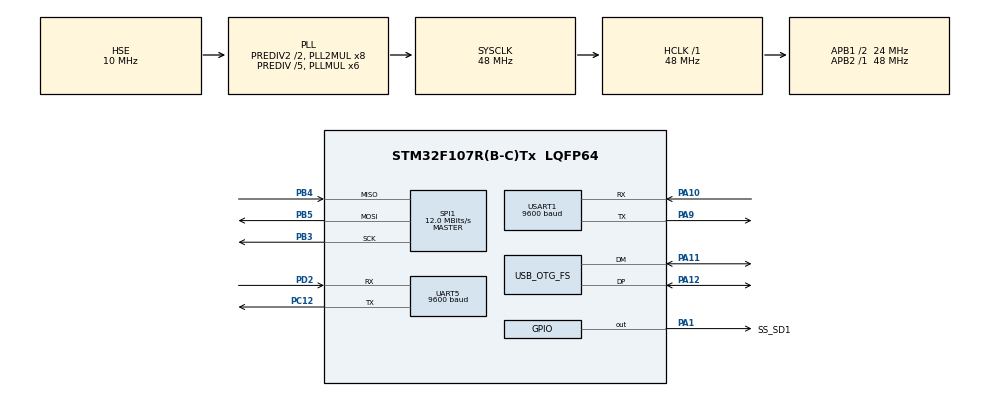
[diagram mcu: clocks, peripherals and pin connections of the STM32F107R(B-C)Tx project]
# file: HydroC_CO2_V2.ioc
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Dma.Request0=SPI1_RX
Dma.Request1=SPI1_TX
Dma.SPI1_RX.0.Direction=DMA_PERIPH_TO_MEMORY
Dma.SPI1_RX.0.Instance=DMA1_Channel2
Dma.SPI1_RX.0.MemDataAlignment=DMA_MDATAALIGN_BYTE
Dma.SPI1_RX.0.MemInc=DMA_MINC_ENABLE
Dma.SPI1_RX.0.Mode=DMA_NORMAL
Dma.SPI1_RX.0.PeriphDataAlignment=DMA_PDATAALIGN_BYTE
Dma.SPI1_RX.0.PeriphInc=DMA_PINC_DISABLE
Dma.SPI1_RX.0.Priority=DMA_PRIORITY_LOW
Dma.SPI1_TX.1.Direction=DMA_MEMORY_TO_PERIPH
Dma.SPI1_TX.1.Instance=DMA1_Channel3
Dma.SPI1_TX.1.MemDataAlignment=DMA_MDATAALIGN_BYTE
Dma.SPI1_TX.1.MemInc=DMA_MINC_ENABLE
Dma.SPI1_TX.1.Mode=DMA_NORMAL
Dma.SPI1_TX.1.PeriphDataAlignment=DMA_PDATAALIGN_BYTE
Dma.SPI1_TX.1.PeriphInc=DMA_PINC_DISABLE
Dma.SPI1_TX.1.Priority=DMA_PRIORITY_LOW
FREERTOS.BinarySemaphores01=glider_uart_sem,Dynamic,NULL;sensor_uart_sem,Dynamic,NULL
FREERTOS.Tasks01=defaultTask,0,1024,StartDefaultTask,Default,NULL,Dynamic,NULL,NULL;uart_tx_t,0,256,uart_tx_f,Default,NULL,Dynamic,NULL,NULL
FREERTOS.Timers01=timer1,timer1_cb,osTimerOnce,Default,NULL,Dynamic,NULL
FREERTOS.configTOTAL_HEAP_SIZE=30000
FREERTOS.configUSE_NEWLIB_REENTRANT=1
FREERTOS.configUSE_TIMERS=1
Mcu.Family=STM32F1
Mcu.Name=STM32F107R(B-C)Tx
Mcu.Package=LQFP64
NVIC.DMA1_Channel2_IRQn=true\:5\:0\:false\:false\:true\:true\:false\:true\:true
NVIC.DMA1_Channel3_IRQn=true\:5\:0\:false\:false\:true\:true\:false\:true\:true
NVIC.PriorityGroup=NVIC_PRIORITYGROUP_4
NVIC.SPI1_IRQn=true\:5\:0\:false\:false\:true\:true\:true\:true\:true
NVIC.TIM1_UP_IRQn=true\:15\:0\:false\:false\:true\:false\:false\:true\:true
NVIC.TimeBase=TIM1_UP_IRQn
NVIC.TimeBaseIP=TIM1
NVIC.UART5_IRQn=true\:5\:0\:false\:false\:true\:true\:true\:true\:true
NVIC.USART1_IRQn=true\:5\:0\:false\:false\:true\:true\:true\:true\:true
PA1.GPIO_Label=SS_SD1
PA1.GPIO_Speed=GPIO_SPEED_FREQ_HIGH
PA1.PinState=GPIO_PIN_SET
PA1.Signal=GPIO_Output
PA10.Mode=Asynchronous
PA10.Signal=USART1_RX
PA11.Mode=Host_Only
PA11.Signal=USB_OTG_FS_DM
PA12.Mode=Host_Only
PA12.Signal=USB_OTG_FS_DP
PA13.Mode=Serial_Wire
PA13.Signal=SYS_JTMS-SWDIO
PA14.Mode=Serial_Wire
PA14.Signal=SYS_JTCK-SWCLK
PA9.Mode=Asynchronous
PA9.Signal=USART1_TX
PB3.Mode=Full_Duplex_Master
PB3.Signal=SPI1_SCK
PB4.Mode=Full_Duplex_Master
PB4.Signal=SPI1_MISO
PB5.Mode=Full_Duplex_Master
PB5.Signal=SPI1_MOSI
PC12.Mode=Asynchronous
PC12.Signal=UART5_TX
PD0-OSC_IN.Mode=HSE-External-Oscillator
PD0-OSC_IN.Signal=RCC_OSC_IN
PD1-OSC_OUT.Mode=HSE-External-Oscillator
PD1-OSC_OUT.Signal=RCC_OSC_OUT
PD2.Mode=Asynchronous
PD2.Signal=UART5_RX
ProjectManager.HeapSize=0x200
ProjectManager.StackSize=0x400
ProjectManager.TargetToolchain=STM32CubeIDE
RCC.AHBFreq_Value=48000000
RCC.APB1CLKDivider=RCC_HCLK_DIV2
RCC.APB1Freq_Value=24000000
RCC.APB1TimFreq_Value=48000000
RCC.APB2Freq_Value=48000000
RCC.APB2TimFreq_Value=48000000
RCC.HCLKFreq_Value=48000000
RCC.HSEDivPLL=RCC_HSE_PREDIV_DIV5
RCC.HSE_VALUE=10000000
RCC.PLLMUL=RCC_PLL_MUL6
RCC.PLLSourceVirtual=RCC_PLLSOURCE_HSE
RCC.Prediv1Source=RCC_PREDIV1_SOURCE_PLL2
RCC.Prediv2=RCC_HSE_PREDIV2_DIV2
RCC.SYSCLKFreq_VALUE=48000000
RCC.SYSCLKSource=RCC_SYSCLKSOURCE_PLLCLK
RCC.USBFreq_Value=48000000
RCC.USBPrescaler=RCC_USBCLKSOURCE_PLL_DIV2
SPI1.BaudRatePrescaler=SPI_BAUDRATEPRESCALER_4
SPI1.CalculateBaudRate=12.0 MBits/s
SPI1.Direction=SPI_DIRECTION_2LINES
SPI1.Mode=SPI_MODE_MASTER
SPI1.VirtualType=VM_MASTER
UART5.BaudRate=9600
UART5.VirtualMode=Asynchronous
USART1.BaudRate=9600
USART1.VirtualMode=VM_ASYNC
USB_OTG_FS.VirtualMode=Host_Only
VP_FREERTOS_VS_CMSIS_V1.Mode=CMSIS_V1
VP_SYS_VS_tim1.Mode=TIM1
board=custom

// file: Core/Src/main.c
/* USER CODE BEGIN Header */
/**
  ******************************************************************************
  * @file           : main.c
  * @brief          : Main program body
  ******************************************************************************
  * @attention
  *
  * <h2><center>&copy; Copyright (c) 2022 STMicroelectronics.
  * All rights reserved.</center></h2>
  *
  * This software component is licensed by ST under Ultimate Liberty license
  * SLA0044, the "License"; You may not use this file except in compliance with
  * the License. You may obtain a copy of the License at:
  *                             www.st.com/SLA0044
  *
  ******************************************************************************
  */
/* USER CODE END Header */
#include "main.h"
#include "cmsis_os.h"

/* USER CODE BEGIN Includes */
#include "seaglider.h"
#include "HYDROC.h"
#include "string.h"
#include "em_sd_storage.h"
#include "stdio.h"
#include "settings.h"
/* USER CODE END Includes */

/* USER CODE BEGIN PD */

#define  SENSOR_UART             huart1
#define  GLIDER_UART             huart5

#define TX_BUFF_SIZE             150
#define DEBUG_MSG

/* USER CODE END PD */

SPI_HandleTypeDef hspi1;
DMA_HandleTypeDef hdma_spi1_rx;
DMA_HandleTypeDef hdma_spi1_tx;

UART_HandleTypeDef huart5;
UART_HandleTypeDef huart1;

HCD_HandleTypeDef hhcd_USB_OTG_FS;

osThreadId defaultTaskHandle;
osThreadId uart_tx_tHandle;
osTimerId timer1Handle;
osSemaphoreId glider_uart_semHandle;
osSemaphoreId sensor_uart_semHandle;
/* USER CODE BEGIN PV */

typedef enum{
	FSM_IDLE,
	FSM_INIT,
	FSM_MAIN_ALG
}fsm_t;

typedef enum{
	CLK_UNSYNC,
	CLK_SYNCED
}clk_sync_t;

seaglider glider1;
hydroc hydroc_sensor1;
sd_storage_t microsd_storage;
extern settings_str run_cfg;

uint32_t tick1,tick2;

fsm_t fsm_status;
clk_sync_t clock_sync_status;
/* USER CODE END PV */

void SystemClock_Config(void);
static void MX_GPIO_Init(void);
static void MX_DMA_Init(void);
static void MX_USB_OTG_FS_HCD_Init(void);
static void MX_UART5_Init(void);
static void MX_USART1_UART_Init(void);
static void MX_SPI1_Init(void);
void StartDefaultTask(void const * argument);
void uart_tx_f(void const * argument);
void timer1_cb(void const * argument);

int main(void)
{

  /* MCU Configuration--------------------------------------------------------*/

  /* Reset of all peripherals, Initializes the Flash interface and the Systick. */
  HAL_Init();

  /* Configure the system clock */
  SystemClock_Config();

  /* Initialize all configured peripherals */
  MX_GPIO_Init();
  MX_DMA_Init();
  MX_USB_OTG_FS_HCD_Init();
  MX_UART5_Init();
  MX_USART1_UART_Init();
  MX_SPI1_Init();
  /* USER CODE BEGIN 2 */
  fsm_status=FSM_IDLE;
  clock_sync_status=CLK_UNSYNC;
  seaglider_init(&glider1);
  hydroc_init(&hydroc_sensor1);

  HAL_UART_Receive_IT(&SENSOR_UART,&(hydroc_sensor1.media_rx_byte),1);
  HAL_UART_Receive_IT(&GLIDER_UART,&(glider1.media_rx_byte),1);

  /* USER CODE END 2 */

  /* Create the semaphores(s) */
  /* definition and creation of glider_uart_sem */
  osSemaphoreDef(glider_uart_sem);
  glider_uart_semHandle = osSemaphoreCreate(osSemaphore(glider_uart_sem), 1);

  /* definition and creation of sensor_uart_sem */
  osSemaphoreDef(sensor_uart_sem);
  sensor_uart_semHandle = osSemaphoreCreate(osSemaphore(sensor_uart_sem), 1);

  /* Create the timer(s) */
  /* definition and creation of timer1 */
  osTimerDef(timer1, timer1_cb);
  timer1Handle = osTimerCreate(osTimer(timer1), osTimerOnce, NULL);

  /* Create the thread(s) */
  /* definition and creation of defaultTask */
  osThreadDef(defaultTask, StartDefaultTask, osPriorityNormal, 0, 1024);
  defaultTaskHandle = osThreadCreate(osThread(defaultTask), NULL);

  /* definition and creation of uart_tx_t */
  osThreadDef(uart_tx_t, uart_tx_f, osPriorityNormal, 0, 256);
  uart_tx_tHandle = osThreadCreate(osThread(uart_tx_t), NULL);

  /* Start scheduler */
  osKernelStart();

  /* We should never get here as control is now taken by the scheduler */
  /* Infinite loop */
  while (1)
  {

  }
}

void SystemClock_Config(void)
{
  RCC_OscInitTypeDef RCC_OscInitStruct = {0};
  RCC_ClkInitTypeDef RCC_ClkInitStruct = {0};
  RCC_PeriphCLKInitTypeDef PeriphClkInit = {0};

  /** Initializes the RCC Oscillators according to the specified parameters
  * in the RCC_OscInitTypeDef structure.
  */
  RCC_OscInitStruct.OscillatorType = RCC_OSCILLATORTYPE_HSE;
  RCC_OscInitStruct.HSEState = RCC_HSE_ON;
  RCC_OscInitStruct.HSEPredivValue = RCC_HSE_PREDIV_DIV5;
  RCC_OscInitStruct.HSIState = RCC_HSI_ON;
  RCC_OscInitStruct.Prediv1Source = RCC_PREDIV1_SOURCE_PLL2;
  RCC_OscInitStruct.PLL.PLLState = RCC_PLL_ON;
  RCC_OscInitStruct.PLL.PLLSource = RCC_PLLSOURCE_HSE;
  RCC_OscInitStruct.PLL.PLLMUL = RCC_PLL_MUL6;
  RCC_OscInitStruct.PLL2.PLL2State = RCC_PLL2_ON;
  RCC_OscInitStruct.PLL2.PLL2MUL = RCC_PLL2_MUL8;
  RCC_OscInitStruct.PLL2.HSEPrediv2Value = RCC_HSE_PREDIV2_DIV2;
  if (HAL_RCC_OscConfig(&RCC_OscInitStruct) != HAL_OK)
  {
    Error_Handler();
  }

  /** Initializes the CPU, AHB and APB buses clocks
  */
  RCC_ClkInitStruct.ClockType = RCC_CLOCKTYPE_HCLK|RCC_CLOCKTYPE_SYSCLK
                              |RCC_CLOCKTYPE_PCLK1|RCC_CLOCKTYPE_PCLK2;
  RCC_ClkInitStruct.SYSCLKSource = RCC_SYSCLKSOURCE_PLLCLK;
  RCC_ClkInitStruct.AHBCLKDivider = RCC_SYSCLK_DIV1;
  RCC_ClkInitStruct.APB1CLKDivider = RCC_HCLK_DIV2;
  RCC_ClkInitStruct.APB2CLKDivider = RCC_HCLK_DIV1;

  if (HAL_RCC_ClockConfig(&RCC_ClkInitStruct, FLASH_LATENCY_1) != HAL_OK)
  {
    Error_Handler();
  }
  PeriphClkInit.PeriphClockSelection = RCC_PERIPHCLK_USB;
  PeriphClkInit.UsbClockSelection = RCC_USBCLKSOURCE_PLL_DIV2;
  if (HAL_RCCEx_PeriphCLKConfig(&PeriphClkInit) != HAL_OK)
  {
    Error_Handler();
  }

  /** Configure the Systick interrupt time
  */
  __HAL_RCC_PLLI2S_ENABLE();
}

static void MX_SPI1_Init(void)
{

  /* SPI1 parameter configuration*/
  hspi1.Instance = SPI1;
  hspi1.Init.Mode = SPI_MODE_MASTER;
  hspi1.Init.Direction = SPI_DIRECTION_2LINES;
  hspi1.Init.DataSize = SPI_DATASIZE_8BIT;
  hspi1.Init.CLKPolarity = SPI_POLARITY_LOW;
  hspi1.Init.CLKPhase = SPI_PHASE_1EDGE;
  hspi1.Init.NSS = SPI_NSS_SOFT;
  hspi1.Init.BaudRatePrescaler = SPI_BAUDRATEPRESCALER_4;
  hspi1.Init.FirstBit = SPI_FIRSTBIT_MSB;
  hspi1.Init.TIMode = SPI_TIMODE_DISABLE;
  hspi1.Init.CRCCalculation = SPI_CRCCALCULATION_DISABLE;
  hspi1.Init.CRCPolynomial = 10;
  if (HAL_SPI_Init(&hspi1) != HAL_OK)
  {
    Error_Handler();
  }

}

static void MX_UART5_Init(void)
{

  huart5.Instance = UART5;
  huart5.Init.BaudRate = 9600;
  huart5.Init.WordLength = UART_WORDLENGTH_8B;
  huart5.Init.StopBits = UART_STOPBITS_1;
  huart5.Init.Parity = UART_PARITY_NONE;
  huart5.Init.Mode = UART_MODE_TX_RX;
  huart5.Init.HwFlowCtl = UART_HWCONTROL_NONE;
  huart5.Init.OverSampling = UART_OVERSAMPLING_16;
  if (HAL_UART_Init(&huart5) != HAL_OK)
  {
    Error_Handler();
  }

}

static void MX_USART1_UART_Init(void)
{

  huart1.Instance = USART1;
  huart1.Init.BaudRate = 9600;
  huart1.Init.WordLength = UART_WORDLENGTH_8B;
  huart1.Init.StopBits = UART_STOPBITS_1;
  huart1.Init.Parity = UART_PARITY_NONE;
  huart1.Init.Mode = UART_MODE_TX_RX;
  huart1.Init.HwFlowCtl = UART_HWCONTROL_NONE;
  huart1.Init.OverSampling = UART_OVERSAMPLING_16;
  if (HAL_UART_Init(&huart1) != HAL_OK)
  {
    Error_Handler();
  }

}

static void MX_USB_OTG_FS_HCD_Init(void)
{

  hhcd_USB_OTG_FS.Instance = USB_OTG_FS;
  hhcd_USB_OTG_FS.Init.Host_channels = 8;
  hhcd_USB_OTG_FS.Init.speed = HCD_SPEED_FULL;
  hhcd_USB_OTG_FS.Init.phy_itface = HCD_PHY_EMBEDDED;
  hhcd_USB_OTG_FS.Init.Sof_enable = DISABLE;
  if (HAL_HCD_Init(&hhcd_USB_OTG_FS) != HAL_OK)
  {
    Error_Handler();
  }

}

static void MX_DMA_Init(void)
{

  /* DMA controller clock enable */
  __HAL_RCC_DMA1_CLK_ENABLE();

  /* DMA interrupt init */
  /* DMA1_Channel2_IRQn interrupt configuration */
  HAL_NVIC_SetPriority(DMA1_Channel2_IRQn, 5, 0);
  HAL_NVIC_EnableIRQ(DMA1_Channel2_IRQn);
  /* DMA1_Channel3_IRQn interrupt configuration */
  HAL_NVIC_SetPriority(DMA1_Channel3_IRQn, 5, 0);
  HAL_NVIC_EnableIRQ(DMA1_Channel3_IRQn);

}

static void MX_GPIO_Init(void)
{
  GPIO_InitTypeDef GPIO_InitStruct = {0};

  /* GPIO Ports Clock Enable */
  __HAL_RCC_GPIOD_CLK_ENABLE();
  __HAL_RCC_GPIOA_CLK_ENABLE();
  __HAL_RCC_GPIOC_CLK_ENABLE();
  __HAL_RCC_GPIOB_CLK_ENABLE();

  /*Configure GPIO pin Output Level */
  HAL_GPIO_WritePin(SS_SD1_GPIO_Port, SS_SD1_Pin, GPIO_PIN_SET);

  /*Configure GPIO pin : SS_SD1_Pin */
  GPIO_InitStruct.Pin = SS_SD1_Pin;
  GPIO_InitStruct.Mode = GPIO_MODE_OUTPUT_PP;
  GPIO_InitStruct.Pull = GPIO_NOPULL;
  GPIO_InitStruct.Speed = GPIO_SPEED_FREQ_HIGH;
  HAL_GPIO_Init(SS_SD1_GPIO_Port, &GPIO_InitStruct);

}

/* USER CODE BEGIN 4 */
uint8_t tmp1;
uint8_t tmp2;

void HAL_UART_RxCpltCallback(UART_HandleTypeDef *huart)
{
 if(huart==&SENSOR_UART)
 {
	 hydroc_media_process_byte(&hydroc_sensor1,hydroc_sensor1.media_rx_byte);
	 HAL_UART_Receive_IT(&SENSOR_UART,&(hydroc_sensor1.media_rx_byte),1);
 }
 else if(huart==&GLIDER_UART)
 {
	 seaglider_media_process_byte(&glider1,glider1.media_rx_byte);
	 HAL_UART_Receive_IT(&GLIDER_UART,&(glider1.media_rx_byte),1);
 }
}

void HAL_UART_TxCpltCallback(UART_HandleTypeDef *huart)
{

 if(huart==&SENSOR_UART)
 {
	 if(hydroc_media_get_byte(&hydroc_sensor1,&tmp2)==HYDROC_F_OK)
	 {
	    HAL_UART_Transmit_IT(&SENSOR_UART,&tmp2,1);
	 }
 }
 else if(huart==&GLIDER_UART)
 {
	 if(seaglider_media_get_byte(&glider1,&tmp1)==SEAGLIDER_F_OK)
	 {
	    HAL_UART_Transmit_IT(&GLIDER_UART,&tmp1,1);
	 }
 }
}

/* USER CODE END 4 */

void StartDefaultTask(void const * argument)
{
  /* USER CODE BEGIN 5 */
  /* Infinite loop */
  uint8_t event_id;
  char tmp_str[30];

  memory_region_pointer ptr1;
  uint8_t tx_buff[TX_BUFF_SIZE];
  uint32_t byteswritten;
  uint32_t bytesreaded;
  FIL  data_file;
  FIL  err_file;
  char tmp_filename[FILENAME_LEN+2];
  char log_msg[512];

  osDelay(200);
  #ifdef DEBUG_MSG
   HAL_UART_Transmit(&GLIDER_UART,"Glider port start\r",18,100);
   HAL_UART_Transmit(&SENSOR_UART,"Sensor port start\r",18,100);
  #endif
  sd_storage_link_ss(&microsd_storage,0,SS_SD1_Pin,GPIOA);
  while(sd_storage_init(&microsd_storage)!=F_OK){
		osDelay(1000);
        #ifdef DEBUG_MSG
			HAL_UART_Transmit(&SENSOR_UART,"SD init error\r",14,100);
        #endif
  }
  run_cfg.disk_id=microsd_storage.active_disk_indx;
  if(read_settings()==F_ERR){
	  set_default_settings();
  }
  #ifdef DEBUG_MSG
	HAL_UART_Transmit(&SENSOR_UART,"Init finished\r",14,100);
  #endif

  hydroc_sensor1.errors.P_in=run_cfg.sensor_errors.P_in;
  hydroc_sensor1.errors.rH_gas=run_cfg.sensor_errors.rH_gas;
  hydroc_sensor1.errors.T_control=run_cfg.sensor_errors.T_control;
  hydroc_sensor1.errors.P_pump=run_cfg.sensor_errors.P_pump;

  fsm_status=FSM_MAIN_ALG;

  seaglider_send_cmd(&glider1,SEAGLIDER_CMD_PROMPT,NULL);
  for(;;)
  {
		 //glider task
		 if(seaglider_get_event(&glider1,&event_id)==SEAGLIDER_F_OK)
		 {
			switch(event_id)
			{
			 case SEAGLIDER_EVNT_CLEAR_RCVD:
				  hydroc_send_cmd(&hydroc_sensor1,HYDROC_CMD_ENTER_CFG,NULL);
				  osDelay(1000);
				  hydroc_send_cmd(&hydroc_sensor1,HYDROC_CMD_CLEAR,NULL);
				  osDelay(1000);
				  hydroc_send_cmd(&hydroc_sensor1,HYDROC_CMD_EXIT_CFG,NULL);
				  seaglider_send_cmd(&glider1,SEAGLIDER_CMD_PROMPT,NULL);
			 break;
			 case SEAGLIDER_EVNT_POFF_RCVD:
				  hydroc_send_cmd(&hydroc_sensor1,HYDROC_CMD_ENTER_CFG,NULL);
				  osDelay(1000);
				  hydroc_send_cmd(&hydroc_sensor1,HYDROC_CMD_DISABLE_PUMP,NULL);
				  osDelay(1000);
				  hydroc_send_cmd(&hydroc_sensor1,HYDROC_CMD_EXIT_CFG,NULL);
				  seaglider_send_cmd(&glider1,SEAGLIDER_CMD_PROMPT,NULL);
			 break;
			 case SEAGLIDER_EVNT_DEPTH_RCVD:
				  seaglider_send_cmd(&glider1,SEAGLIDER_CMD_PROMPT,NULL);
	         break;
			 case SEAGLIDER_EVNT_STOP_RCVD:

				  if(glider1.dive_status==glider1.param_y){
					hydroc_send_cmd(&hydroc_sensor1,HYDROC_CMD_ENTER_CFG,NULL);
					osDelay(1000);
					hydroc_send_cmd(&hydroc_sensor1,HYDROC_CMD_SET_ZERO_MODE,NULL);
					osDelay(1000);
				    if(glider1.stop_trigger==SEAGLIDER_STOP_WAIT){
					  hydroc_send_cmd(&hydroc_sensor1,HYDROC_CMD_DISABLE_PUMP,NULL);
					  osDelay(1000);
				    }
					hydroc_send_cmd(&hydroc_sensor1,HYDROC_CMD_EXIT_CFG,NULL);
					osDelay(1000);
					glider1.stop_trigger=SEAGLIDER_STOP_TRIGGERED;
				  }

				  f_close(&data_file);
				  run_cfg.sensor_errors.P_in=hydroc_sensor1.errors.P_in;
				  run_cfg.sensor_errors.rH_gas=hydroc_sensor1.errors.rH_gas;
				  run_cfg.sensor_errors.T_control=hydroc_sensor1.errors.T_control;
				  run_cfg.sensor_errors.P_pump=hydroc_sensor1.errors.P_pump;
				  //f_close(&err_file);
				  save_settings();

				  //hydroc_send_cmd(&hydroc_sensor1,HYDROC_CMD_TEST,NULL);
				  hydroc_sensor1.status=HYDROC_IDLE;
				  seaglider_send_cmd(&glider1,SEAGLIDER_CMD_PROMPT,NULL);
			 break;
			 case SEAGLIDER_EVNT_START_RCVD:
				  hydroc_sensor1.data_profile_id=glider1.param_z;

				  if(glider1.dive_status==SEAGLIDER_STATUS_DIVE){
					  run_cfg.last_file_index++;
					  sprintf(tmp_filename,"%u:%s%u%s",run_cfg.disk_id,DATA_FILE_PREFIX,run_cfg.last_file_index,DATA_FILE_EXTENSION);
					  f_open(&data_file,tmp_filename,FA_CREATE_ALWAYS|FA_WRITE);
					  //sprintf(tmp_filename,"%u:%s%u%s",run_cfg.disk_id,ERR_FILE_PREFIX,run_cfg.last_file_index,ERR_FILE_EXTENSION);
					  //f_open(&err_file,tmp_filename,FA_CREATE_ALWAYS|FA_WRITE);

					  hydroc_sensor1.errors.P_in=0;
					  hydroc_sensor1.errors.rH_gas=0;
					  hydroc_sensor1.errors.T_control=0;
					  hydroc_sensor1.errors.P_pump=0;
				  }
				  else if(glider1.dive_status==SEAGLIDER_STATUS_CLIMB){

					  sprintf(tmp_filename,"%u:%s%u%s",run_cfg.disk_id,DATA_FILE_PREFIX,run_cfg.last_file_index,DATA_FILE_EXTENSION);
					  f_open(&data_file,tmp_filename,FA_OPEN_APPEND|FA_WRITE);
					  //sprintf(tmp_filename,"%u:%s%u%s",run_cfg.disk_id,ERR_FILE_PREFIX,run_cfg.last_file_index,ERR_FILE_EXTENSION);
					  //f_open(&err_file,tmp_filename,FA_OPEN_APPEND|FA_WRITE);
				  }

				  hydroc_sensor1.status=HYDROC_WAIT_DATA;

				  if(glider1.start_trigger==SEAGLIDER_START_WAIT){
					hydroc_send_cmd(&hydroc_sensor1,HYDROC_CMD_ENTER_CFG,NULL);
					osDelay(1000);
					hydroc_send_cmd(&hydroc_sensor1,HYDROC_CMD_ENABLE_PUMP,NULL);
					osDelay(1000);
					hydroc_send_cmd(&hydroc_sensor1,HYDROC_CMD_EXIT_CFG,NULL);
					glider1.start_trigger=SEAGLIDER_START_TRIGGERED;
				  }
				  //hydroc_send_cmd(&hydroc_sensor1,HYDROC_CMD_TEST,NULL);
				  seaglider_send_cmd(&glider1,SEAGLIDER_CMD_PROMPT,NULL);
			 break;
			 case SEAGLIDER_EVNT_CLOCK_RCVD:
				  seaglider_send_cmd(&glider1,SEAGLIDER_CMD_PROMPT,NULL);
                  if(clock_sync_status==CLK_UNSYNC){
					  xSemaphoreTake(sensor_uart_semHandle,portMAX_DELAY);
					  clock_sync_status=CLK_SYNCED;
					  hydroc_send_cmd(&hydroc_sensor1,HYDROC_CMD_ENTER_CFG,tmp_str);
					  osDelay(1000);
					  memcpy(tmp_str,glider1.date,8);
					  memcpy(tmp_str+8,",0,",3);
					  memcpy(tmp_str+11,glider1.time,8);
					  memcpy(tmp_str+19,",0",2);
					  tmp_str[21]=0x00;
					  hydroc_send_cmd(&hydroc_sensor1,HYDROC_CMD_SET_REAL_TIME,tmp_str);
					  osDelay(1000);
					  hydroc_send_cmd(&hydroc_sensor1,HYDROC_CMD_EXIT_CFG,tmp_str);
					  xSemaphoreGive(sensor_uart_semHandle);
                  }

			 break;
			 case SEAGLIDER_EVNT_WAKEUP_RCVD:
				  seaglider_send_cmd(&glider1,SEAGLIDER_CMD_PROMPT,NULL);
			 break;

			 case SEAGLIDER_EVNT_TEST_RCVD:
				  seaglider_send_cmd(&glider1,SEAGLIDER_CMD_PROMPT,NULL);
			 break;
			 case SEAGLIDER_EVNT_SEND_TXT_FILE_RCVD:
				  sprintf(tmp_filename,"%s%u%s",DATA_FILE_PREFIX,run_cfg.last_file_index,DATA_FILE_EXTENSION);
				  if(f_open(&data_file,tmp_filename,FA_READ)==FR_OK){
					ptr1.start_addr=tmp_filename;
					ptr1.size=strlen(tmp_filename);
					seaglider_send_cmd(&glider1,SEAGLIDER_CMD_SEND_DATA,&ptr1);
					do{
					   if(f_read(&data_file,tx_buff,50,&bytesreaded)==FR_OK){
					    ptr1.start_addr=tx_buff;
					    ptr1.size=bytesreaded;
					    seaglider_send_cmd(&glider1,SEAGLIDER_CMD_SEND_DATA,&ptr1);
					   }
					}while(bytesreaded==50);
				  }
				  /* send error file
				  sprintf(tmp_filename,"%s%u%s",ERR_FILE_PREFIX,run_cfg.last_file_index,ERR_FILE_EXTENSION);
				  if(f_open(&data_file,tmp_filename,FA_READ)==FR_OK){
					ptr1.start_addr=tmp_filename;
					ptr1.size=strlen(tmp_filename);
					seaglider_send_cmd(&glider1,SEAGLIDER_CMD_SEND_DATA,&ptr1);
					do{
					   if(f_read(&data_file,tx_buff,50,&bytesreaded)==FR_OK){
					    ptr1.start_addr=tx_buff;
					    ptr1.size=bytesreaded;
					    seaglider_send_cmd(&glider1,SEAGLIDER_CMD_SEND_DATA,&ptr1);
					   }
					}while(bytesreaded==TX_BUFF_SIZE);
				  }
				  */
				  seaglider_send_cmd(&glider1,SEAGLIDER_CMD_PROMPT,NULL);
			 break;
			 case SEAGLIDER_EVNT_ERRORS_RCVD:
				  sprintf(tx_buff,"P_in:%u,rH_gas:%u,T_control:%u,P_pump:%u\r",
						   hydroc_sensor1.errors.P_in,
						   hydroc_sensor1.errors.rH_gas,
						   hydroc_sensor1.errors.T_control,
						   hydroc_sensor1.errors.P_pump
						   );
  			      ptr1.start_addr=tx_buff;
				  ptr1.size=strlen(tx_buff);
				  seaglider_send_cmd(&glider1,SEAGLIDER_CMD_SEND_DATA,&ptr1);
				  seaglider_send_cmd(&glider1,SEAGLIDER_CMD_PROMPT,NULL);
			 break;

			}
		 }

		 //sensor tasks

		 if(hydroc_get_event(&hydroc_sensor1,&event_id)==HYDROC_F_OK)
		 {
	        switch(event_id)
	        {
	         case HYDROC_EVNT_CODS4:
	             log_msg[0]=0x00;
	             switch(hydroc_sensor1.data_profile_id){
	              case HYDROC_PROFILE_0:

                  break;
	              case HYDROC_PROFILE_1:
                   sprintf(log_msg,"DS4:%s,%s,%s\r"
						 ,hydroc_sensor1.ds4.pCO2_corr
						 ,hydroc_sensor1.ds4.P_IN
						 ,hydroc_sensor1.ds4.runtime);
                  break;
	              case HYDROC_PROFILE_2:
                   sprintf(log_msg,"DS4:%s,%s,%s,%s,%s\r"
						 ,hydroc_sensor1.ds4.pCO2_corr
						 ,hydroc_sensor1.ds4.P_IN
						 ,hydroc_sensor1.ds4.runtime
						 ,hydroc_sensor1.ds4.signal_raw
						 ,hydroc_sensor1.ds4.signal_ref);
                  break;
	              case HYDROC_PROFILE_3:
                   sprintf(log_msg,"DS4:%s,%s,%s,%s,%s,%s,%s,%s,%s\r"
						 ,hydroc_sensor1.ds4.P_IN
						 ,hydroc_sensor1.ds4.pCO2_corr
						 ,hydroc_sensor1.ds4.T_sensor
						 ,hydroc_sensor1.ds4.xCO2_corr
						 ,hydroc_sensor1.ds4.runtime
                		 ,hydroc_sensor1.ds4.date
                		 ,hydroc_sensor1.ds4.time
						 ,hydroc_sensor1.ds4.signal_raw
						 ,hydroc_sensor1.ds4.signal_ref);
                  break;
	        	 };
	        	 f_write(&data_file,log_msg,strlen(log_msg),(UINT*)&byteswritten);

	        	 uint32_t P_IN=strtol(hydroc_sensor1.ds4.P_IN,NULL,10);
	        	 uint32_t pump_pwr=strtol(hydroc_sensor1.ds4.pump_pwr,NULL,10);

	        	 if(P_IN>110000) hydroc_sensor1.errors.P_in++;
	       		 if(pump_pwr>1600 || pump_pwr<300)hydroc_sensor1.errors.P_pump++;

	        	 /* save errors
	        	 if(P_IN>110000 || pump_pwr>1600 || pump_pwr<300){
	              sprintf(log_msg,"DS4:%s,%s,%s,%s,%s,%s,%s,%s,%s,%s,%s\r"
							 ,hydroc_sensor1.ds4.date
							 ,hydroc_sensor1.ds4.time
							 ,hydroc_sensor1.ds4.P_IN
							 ,hydroc_sensor1.ds4.pCO2_corr
							 ,hydroc_sensor1.ds4.T_sensor
							 ,hydroc_sensor1.ds4.xCO2_corr
							 ,hydroc_sensor1.ds4.runtime
	                		 ,hydroc_sensor1.ds4.date
	                		 ,hydroc_sensor1.ds4.time
							 ,hydroc_sensor1.ds4.signal_raw
							 ,hydroc_sensor1.ds4.signal_ref);
	        	  f_write(&err_file,log_msg,strlen(log_msg),&byteswritten);
	        	 }
	        	 */

	        	 //seaglider_send_cmd(&glider1,SEAGLIDER_CMD_PROMPT,NULL);
	         break;
	         case HYDROC_EVNT_COTS1:
	        	 log_msg[0]=0x00;
	             switch(hydroc_sensor1.data_profile_id){
	              case HYDROC_PROFILE_0:

                 break;
	              case HYDROC_PROFILE_1:
                  sprintf(log_msg,"TS1:%s,%s\r"
					 ,hydroc_sensor1.ts1.T_gas
					 ,hydroc_sensor1.ts1.rH_gas
                      );
                 break;
	              case HYDROC_PROFILE_2:
                  sprintf(log_msg,"TS1:%s,%s\r"
					 ,hydroc_sensor1.ts1.T_gas
					 ,hydroc_sensor1.ts1.rH_gas
                      );
                 break;
	              case HYDROC_PROFILE_3:
                  sprintf(log_msg,"TS1:%s,%s,%s\r"
					 ,hydroc_sensor1.ts1.rH_gas
					 ,hydroc_sensor1.ts1.T_gas
					 ,hydroc_sensor1.ts1.T_control
                     );
                 break;
	             };
	        	 f_write(&data_file,log_msg,strlen(log_msg),(UINT*)&byteswritten);

	        	 uint32_t rH_gas=strtol(hydroc_sensor1.ts1.rH_gas,NULL,10);
	        	 uint32_t T_control=strtol(hydroc_sensor1.ts1.T_control,NULL,10);

	        	 if(rH_gas>85000) hydroc_sensor1.errors.rH_gas++;
	       		 if(T_control>29000 || T_control<27000)hydroc_sensor1.errors.T_control++;

	        	 /* save errors
	        	 if(rH_gas>85000 || T_control>36500 || T_control<34500){
	              sprintf(log_msg,"TS1:%s,%s,%s,%s,%s\r"
		   				 ,hydroc_sensor1.ts1.date
		   				 ,hydroc_sensor1.ts1.time
	   					 ,hydroc_sensor1.ts1.rH_gas
	   					 ,hydroc_sensor1.ts1.T_gas
	   					 ,hydroc_sensor1.ts1.T_control
	                     );
	        	  f_write(&err_file,log_msg,strlen(log_msg),&byteswritten);
	        	 }
	        	 */

	        	 //seaglider_send_cmd(&glider1,SEAGLIDER_CMD_PROMPT,NULL);
	         break;
	        }
		 }

         osDelay(1);
  }
  /* USER CODE END 5 */
}

void uart_tx_f(void const * argument)
{
  /* USER CODE BEGIN uart_tx_f */
  /* Infinite loop */
  uint8_t tmp1;
  uint8_t tmp2;
  glider1.media_status=SEAGLIDER_MEDIA_READY;
  hydroc_sensor1.media_status=HYDROC_MEDIA_READY;

  for(;;)
  {
   if(fsm_status==FSM_MAIN_ALG){
	   if(GLIDER_UART.gState!=HAL_UART_STATE_BUSY_TX)
	   {
		if(seaglider_media_get_byte(&glider1,&tmp1)==SEAGLIDER_F_OK)
		{
		   HAL_UART_Transmit_IT(&GLIDER_UART,&tmp1,1);
		}
	   }
	   if(SENSOR_UART.gState!=HAL_UART_STATE_BUSY_TX)
	   {

		if(hydroc_media_get_byte(&hydroc_sensor1,&tmp2)==HYDROC_F_OK)
		{
		   HAL_UART_Transmit_IT(&SENSOR_UART,&tmp2,1);
		}

	   }
   }
   osDelay(1);
  }
  /* USER CODE END uart_tx_f */
}

/* timer1_cb function */
void timer1_cb(void const * argument)
{
}

void HAL_TIM_PeriodElapsedCallback(TIM_HandleTypeDef *htim)
{
  if (htim->Instance == TIM1) {
    HAL_IncTick();
  }
}

void Error_Handler(void)
{
  __disable_irq();
  while (1)
  {
  }
}
